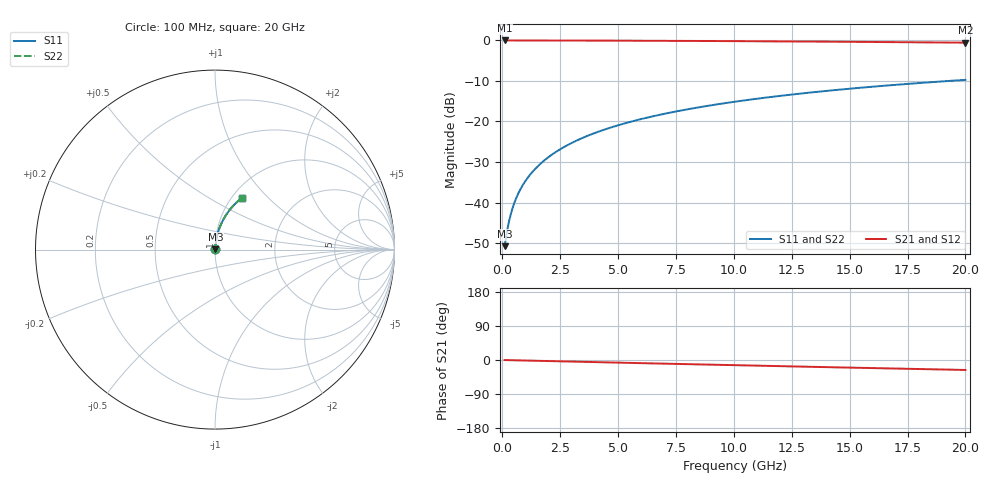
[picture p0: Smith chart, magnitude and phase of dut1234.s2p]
! Touchstone file exported from HFSS 2026.1.0
!  File:  C:/ffzhzh/LocalFiles/Ansys_Project_Files/temp_train_BSMRDL_1234_1783177047_55132.aedt
!  Generated:  10:58:40 PM Jul  4, 2026
!  Design:  BSMRDL
!  Project:  temp_train_BSMRDL_1234_1783177047_55132
! Variables:
!  h_bsmrdl = 4.21um
!  h_ox = 20um
!  h_rdl = 5um
!  h_sub = 80um
!  h_tmrdl = 5um
!  h_tsv = 80um
!  h_via = 3um
!  l_bsmrdl = 295.01um
!  l_sub = 695.01um
!  l_tmrdl = 200um
!  m_sub = 200um
!  pitch = 51.38um
!  r_tsv = 6um
!  s_tmrdl = 10um
!  w_bsmrdl = 11.77um
!  w_sub = 500um
!  w_tmrdl = 12um
!  x_tsv_center1 = 206um
!  x_tsv_center2 = 512.78um
!  x_tsv_center3 = 724.78um
!  x_tsv_center4 = 1031.56um
!  x_tsv_center5 = 1243.56um
!  x_tsv_center6 = 1550.34um
# GHz S MA R 50.000000
! Terminal data exported
! Port[1] = BSM_RDL1_1_T1
! Port[2] = BSM_RDL1_1_T2
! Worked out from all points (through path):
!   200 points, 100 MHz to 20 GHz, reference 50 ohm
!   highest |S21| = -0.02 dB at 100 MHz (marker M1); lowest = -0.6 dB at 20 GHz (marker M2)
!   group delay of S21, straight-line fit = 3.65 ps
!   lowest |S11| = -50.8 dB at 100 MHz (marker M3), VSWR 1.01, Z = 50.2 + j0.188 ohm
!   |S11| at or under -10 dB: start of sweep to 19.31 GHz
!   |S22| runs from -50.8 to -9.7 dB; largest |S21 - S12| = 3.4e-15
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0.1  0.002896 40.2  0.9978 -0.1  0.9978 -0.1  0.002896 40.2
! Gamma 0 0 0 0
! Port Impedance 50 0 50 0
0.2  0.004357 58.8  0.9978 -0.3  0.9978 -0.3  0.004357 58.8
0.3  0.006034 67.4  0.9977 -0.4  0.9977 -0.4  0.006034 67.4
0.4  0.007777 72.1  0.9977 -0.6  0.9977 -0.6  0.007777 72.1
0.5  0.009543 75.0  0.9976 -0.7  0.9976 -0.7  0.009543 75.0
0.6  0.01132 76.9  0.9975 -0.8  0.9975 -0.8  0.01132 76.9
0.8  0.01489 79.4  0.9974 -1.1  0.9974 -1.1  0.01489 79.4
1.1  0.02026 81.3  0.9973 -1.5  0.9973 -1.5  0.02026 81.3
1.5  0.02744 82.4  0.997 -2.1  0.997 -2.1  0.02744 82.4
1.8  0.03284 82.8  0.9968 -2.5  0.9968 -2.5  0.03284 82.8
2.1  0.03823 82.9  0.9965 -2.9  0.9965 -2.9  0.03823 82.9
2.7  0.04898 82.8  0.9959 -3.8  0.9959 -3.8  0.04898 82.8
3.5  0.06326 82.2  0.9948 -4.9  0.9948 -4.9  0.06326 82.2
4.2  0.07566 81.5  0.9937 -5.8  0.9937 -5.8  0.07566 81.5
5  0.08972 80.6  0.9922 -6.9  0.9922 -6.9  0.08972 80.6
5.9  0.1054 79.6  0.9903 -8.2  0.9903 -8.2  0.1054 79.6
6.8  0.1209 78.5  0.9881 -9.4  0.9881 -9.4  0.1209 78.5
8.3  0.1463 76.6  0.9841 -11.4  0.9841 -11.4  0.1463 76.6
10.1  0.1761 74.3  0.9786 -13.8  0.9786 -13.8  0.1761 74.3
13.4  0.2289 70.3  0.9668 -18.1  0.9668 -18.1  0.2289 70.3
16.7  0.2789 66.2  0.953 -22.2  0.953 -22.2  0.2789 66.2
20  0.3258 62.3  0.9375 -26.3  0.9375 -26.3  0.3258 62.3
